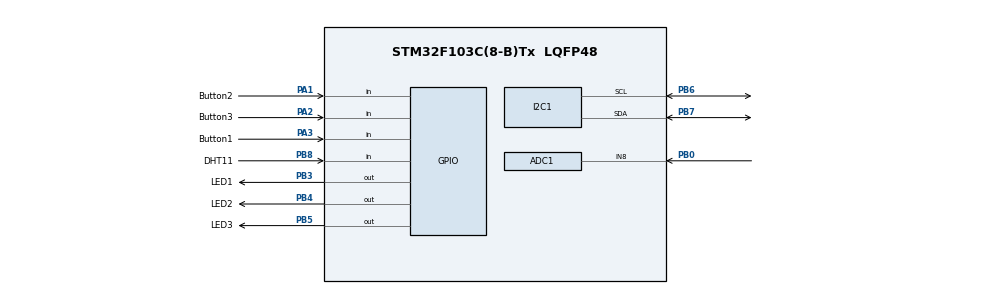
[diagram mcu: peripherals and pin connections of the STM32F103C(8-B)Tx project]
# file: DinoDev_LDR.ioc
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ADC1.Channel-0\#ChannelRegularConversion=ADC_CHANNEL_8
ADC1.NbrOfConversionFlag=1
ADC1.Rank-0\#ChannelRegularConversion=1
ADC1.SamplingTime-0\#ChannelRegularConversion=ADC_SAMPLETIME_1CYCLE_5
ADC1.master=1
Mcu.Family=STM32F1
Mcu.Name=STM32F103C(8-B)Tx
Mcu.Package=LQFP48
NVIC.PriorityGroup=NVIC_PRIORITYGROUP_4
PA0-WKUP.Signal=ADCx_IN0
PA1.GPIO_Label=Button2
PA1.GPIO_PuPd=GPIO_PULLUP
PA1.Signal=GPIO_Input
PA13.Mode=Serial_Wire
PA13.Signal=SYS_JTMS-SWDIO
PA14.Mode=Serial_Wire
PA14.Signal=SYS_JTCK-SWCLK
PA2.GPIO_Label=Button3
PA2.GPIO_PuPd=GPIO_PULLUP
PA2.Signal=GPIO_Input
PA3.GPIO_Label=Button1
PA3.GPIO_PuPd=GPIO_PULLUP
PA3.Signal=GPIO_Input
PB0.Signal=ADCx_IN8
PB3.GPIO_Label=LED1
PB3.PinState=GPIO_PIN_RESET
PB3.Signal=GPIO_Output
PB4.GPIO_Label=LED2
PB4.Signal=GPIO_Output
PB5.GPIO_Label=LED3
PB5.Signal=GPIO_Output
PB6.Mode=I2C
PB6.Signal=I2C1_SCL
PB7.Mode=I2C
PB7.Signal=I2C1_SDA
PB8.GPIO_Label=DHT11
PB8.Signal=GPIO_Input
PD0-OSC_IN.Mode=HSE-External-Oscillator
PD0-OSC_IN.Signal=RCC_OSC_IN
PD1-OSC_OUT.Mode=HSE-External-Oscillator
PD1-OSC_OUT.Signal=RCC_OSC_OUT
ProjectManager.HeapSize=0x200
ProjectManager.StackSize=0x400
ProjectManager.TargetToolchain=STM32CubeIDE
RCC.APB1Freq_Value=8000000
RCC.APB2Freq_Value=8000000
SH.ADCx_IN0.0=ADC1_IN0
SH.ADCx_IN8.0=ADC1_IN8,IN8
board=custom

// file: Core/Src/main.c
/* USER CODE BEGIN Header */
/**
 ******************************************************************************
 * @file           : main.c
 * @brief          : Main program body
 ******************************************************************************
 * @attention
 *
 * Copyright (c) 2023 STMicroelectronics.
 * All rights reserved.
 *
 * This software is licensed under terms that can be found in the LICENSE file
 * in the root directory of this software component.
 * If no LICENSE file comes with this software, it is provided AS-IS.
 *
 ******************************************************************************
 */
/* USER CODE END Header */
#include "main.h"

/* USER CODE BEGIN Includes */
#include "ssd1306.h"
#include "stdio.h"
/* USER CODE END Includes */

ADC_HandleTypeDef hadc1;

I2C_HandleTypeDef hi2c1;

void SystemClock_Config(void);
static void MX_GPIO_Init(void);
static void MX_I2C1_Init(void);
static void MX_ADC1_Init(void);

int main(void)
{
	/* USER CODE BEGIN 1 */
	uint16_t AD_RES = 0, Vamb, DC_Multiplier;
	/* USER CODE END 1 */

	/* MCU Configuration--------------------------------------------------------*/

	/* Reset of all peripherals, Initializes the Flash interface and the Systick. */
	HAL_Init();

	/* Configure the system clock */
	SystemClock_Config();

	/* Initialize all configured peripherals */
	MX_GPIO_Init();
	MX_I2C1_Init();
	MX_ADC1_Init();
	/* USER CODE BEGIN 2 */
	// Calibrate The ADC On Power-Up For Better Accuracy
	HAL_ADCEx_Calibration_Start(&hadc1);

	// Read The Sensor Once To Get The Ambient Level
	// & Calculate The DutyCycle Multiplier
	HAL_ADC_Start(&hadc1);
	HAL_ADC_PollForConversion(&hadc1, 1);
	Vamb = HAL_ADC_GetValue(&hadc1);
	DC_Multiplier = 65535 / (4096 - Vamb);
	uint16_t LDR_VAL = 0;
	char buf[16] =
	{ 0 };
	ssd1306_Init();

	/* USER CODE END 2 */

	/* Infinite loop */
	/* USER CODE BEGIN WHILE */
	while (1)
	{
		ssd1306_SetCursor(0, 0);

		// Start ADC Conversion
		HAL_ADC_Start(&hadc1);
		// Poll ADC1 Perihperal & TimeOut = 1mSec
		HAL_ADC_PollForConversion(&hadc1, 1);
		// Read The ADC Conversion Result & Map It To PWM DutyCycle
		AD_RES = HAL_ADC_GetValue(&hadc1);
		LDR_VAL = (AD_RES - Vamb) * DC_Multiplier;
		HAL_Delay(1);
		ssd1306_WriteString("LDR value = ", Font_7x10, White);
		sprintf(buf, "%d", LDR_VAL);
		ssd1306_WriteString(buf, Font_7x10, White);
		ssd1306_UpdateScreen();
		if(LDR_VAL > 20000)
		{
			HAL_GPIO_WritePin(LED1_GPIO_Port, LED1_Pin, GPIO_PIN_SET);
		}
		if(LDR_VAL > 30000)
		{
			HAL_GPIO_WritePin(LED2_GPIO_Port, LED2_Pin, GPIO_PIN_SET);
		}
		if (LDR_VAL > 40000)
		{
			HAL_GPIO_WritePin(LED3_GPIO_Port, LED3_Pin, GPIO_PIN_SET);
		}
		/* USER CODE END WHILE */

	}
}

void SystemClock_Config(void)
{
	RCC_OscInitTypeDef RCC_OscInitStruct =
	{ 0 };
	RCC_ClkInitTypeDef RCC_ClkInitStruct =
	{ 0 };
	RCC_PeriphCLKInitTypeDef PeriphClkInit =
	{ 0 };

	/** Initializes the RCC Oscillators according to the specified parameters
	 * in the RCC_OscInitTypeDef structure.
	 */
	RCC_OscInitStruct.OscillatorType = RCC_OSCILLATORTYPE_HSI;
	RCC_OscInitStruct.HSIState = RCC_HSI_ON;
	RCC_OscInitStruct.HSICalibrationValue = RCC_HSICALIBRATION_DEFAULT;
	RCC_OscInitStruct.PLL.PLLState = RCC_PLL_NONE;
	if (HAL_RCC_OscConfig(&RCC_OscInitStruct) != HAL_OK)
	{
		Error_Handler();
	}

	/** Initializes the CPU, AHB and APB buses clocks
	 */
	RCC_ClkInitStruct.ClockType = RCC_CLOCKTYPE_HCLK | RCC_CLOCKTYPE_SYSCLK
			| RCC_CLOCKTYPE_PCLK1 | RCC_CLOCKTYPE_PCLK2;
	RCC_ClkInitStruct.SYSCLKSource = RCC_SYSCLKSOURCE_HSI;
	RCC_ClkInitStruct.AHBCLKDivider = RCC_SYSCLK_DIV1;
	RCC_ClkInitStruct.APB1CLKDivider = RCC_HCLK_DIV1;
	RCC_ClkInitStruct.APB2CLKDivider = RCC_HCLK_DIV1;

	if (HAL_RCC_ClockConfig(&RCC_ClkInitStruct, FLASH_LATENCY_0) != HAL_OK)
	{
		Error_Handler();
	}
	PeriphClkInit.PeriphClockSelection = RCC_PERIPHCLK_ADC;
	PeriphClkInit.AdcClockSelection = RCC_ADCPCLK2_DIV2;
	if (HAL_RCCEx_PeriphCLKConfig(&PeriphClkInit) != HAL_OK)
	{
		Error_Handler();
	}
}

static void MX_ADC1_Init(void)
{

	ADC_ChannelConfTypeDef sConfig =
	{ 0 };

	/** Common config
	 */
	hadc1.Instance = ADC1;
	hadc1.Init.ScanConvMode = ADC_SCAN_DISABLE;
	hadc1.Init.ContinuousConvMode = DISABLE;
	hadc1.Init.DiscontinuousConvMode = DISABLE;
	hadc1.Init.ExternalTrigConv = ADC_SOFTWARE_START;
	hadc1.Init.DataAlign = ADC_DATAALIGN_RIGHT;
	hadc1.Init.NbrOfConversion = 1;
	if (HAL_ADC_Init(&hadc1) != HAL_OK)
	{
		Error_Handler();
	}

	/** Configure Regular Channel
	 */
	sConfig.Channel = ADC_CHANNEL_8;
	sConfig.Rank = ADC_REGULAR_RANK_1;
	sConfig.SamplingTime = ADC_SAMPLETIME_1CYCLE_5;
	if (HAL_ADC_ConfigChannel(&hadc1, &sConfig) != HAL_OK)
	{
		Error_Handler();
	}

}

static void MX_I2C1_Init(void)
{

	hi2c1.Instance = I2C1;
	hi2c1.Init.ClockSpeed = 100000;
	hi2c1.Init.DutyCycle = I2C_DUTYCYCLE_2;
	hi2c1.Init.OwnAddress1 = 0;
	hi2c1.Init.AddressingMode = I2C_ADDRESSINGMODE_7BIT;
	hi2c1.Init.DualAddressMode = I2C_DUALADDRESS_DISABLE;
	hi2c1.Init.OwnAddress2 = 0;
	hi2c1.Init.GeneralCallMode = I2C_GENERALCALL_DISABLE;
	hi2c1.Init.NoStretchMode = I2C_NOSTRETCH_DISABLE;
	if (HAL_I2C_Init(&hi2c1) != HAL_OK)
	{
		Error_Handler();
	}

}

static void MX_GPIO_Init(void)
{
	GPIO_InitTypeDef GPIO_InitStruct =
	{ 0 };

	/* GPIO Ports Clock Enable */
	__HAL_RCC_GPIOD_CLK_ENABLE();
	__HAL_RCC_GPIOA_CLK_ENABLE();
	__HAL_RCC_GPIOB_CLK_ENABLE();

	/*Configure GPIO pin Output Level */
	HAL_GPIO_WritePin(GPIOB, LED1_Pin | LED2_Pin | LED3_Pin, GPIO_PIN_RESET);

	/*Configure GPIO pins : Button2_Pin Button3_Pin Button1_Pin */
	GPIO_InitStruct.Pin = Button2_Pin | Button3_Pin | Button1_Pin;
	GPIO_InitStruct.Mode = GPIO_MODE_INPUT;
	GPIO_InitStruct.Pull = GPIO_PULLUP;
	HAL_GPIO_Init(GPIOA, &GPIO_InitStruct);

	/*Configure GPIO pins : LED1_Pin LED2_Pin LED3_Pin */
	GPIO_InitStruct.Pin = LED1_Pin | LED2_Pin | LED3_Pin;
	GPIO_InitStruct.Mode = GPIO_MODE_OUTPUT_PP;
	GPIO_InitStruct.Pull = GPIO_NOPULL;
	GPIO_InitStruct.Speed = GPIO_SPEED_FREQ_LOW;
	HAL_GPIO_Init(GPIOB, &GPIO_InitStruct);

	/*Configure GPIO pin : DHT11_Pin */
	GPIO_InitStruct.Pin = DHT11_Pin;
	GPIO_InitStruct.Mode = GPIO_MODE_INPUT;
	GPIO_InitStruct.Pull = GPIO_NOPULL;
	HAL_GPIO_Init(DHT11_GPIO_Port, &GPIO_InitStruct);

}

void Error_Handler(void)
{
	__disable_irq();
	while (1)
	{
	}
}
